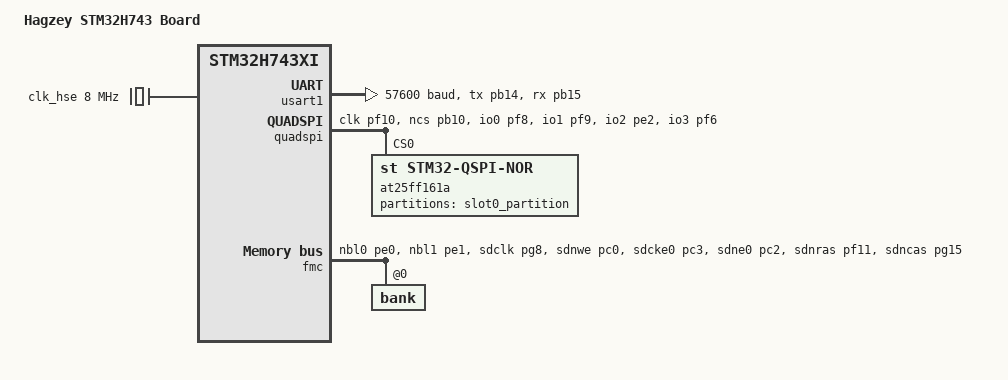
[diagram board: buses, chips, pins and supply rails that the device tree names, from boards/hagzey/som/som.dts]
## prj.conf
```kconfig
# Terminal configuration
CONFIG_SHELL=y

# GPIO configuration
CONFIG_GPIO=y
CONFIG_GPIO_SHELL=y

# Flash configuration
CONFIG_FLASH=y
CONFIG_FLASH_MAP=y
CONFIG_SPI_NOR=y
CONFIG_FLASH_SHELL=y

# C++ support
CONFIG_CPP=y
CONFIG_STD_CPP17=y
CONFIG_REQUIRES_FULL_LIBCPP=y
CONFIG_NEWLIB_LIBC=y
```

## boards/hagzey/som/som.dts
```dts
/dts-v1/;
#include <st/h7/stm32h743Xi.dtsi>
#include <st/h7/stm32h743zitx-pinctrl.dtsi>
#include <zephyr/dt-bindings/input/input-event-codes.h>
#include <zephyr/dt-bindings/mipi_dbi/mipi_dbi.h>

/ {
    model = "Hagzey STM32H743 Board";
    
    chosen {
        zephyr,sram = &sram0;
        zephyr,flash = &flash0;
        zephyr,console = &usart1;
        zephyr,shell-uart = &usart1;
    };
};

/* Custom pin definitions */
&pinctrl {
    quadspi_clk_pf10: quadspi_clk_pf10 {
        pinmux = <STM32_PINMUX('F', 10, AF9)>;
        slew-rate = "very-high-speed";
    };

    quadspi_bk1_ncs_pb10: quadspi_bk1_ncs_pb10 {
        pinmux = <STM32_PINMUX('B', 10, AF9)>;
        slew-rate = "very-high-speed";
    };

    quadspi_bk1_io0_pf8: quadspi_bk1_io0_pf8 {
        pinmux = <STM32_PINMUX('F', 8, AF10)>;
        slew-rate = "very-high-speed";
    };

    quadspi_bk1_io1_pf9: quadspi_bk1_io1_pf9 {
        pinmux = <STM32_PINMUX('F', 9, AF10)>;
        slew-rate = "very-high-speed";
    };

    quadspi_bk1_io2_pe2: quadspi_bk1_io2_pe2 {
        pinmux = <STM32_PINMUX('E', 2, AF9)>;
        slew-rate = "very-high-speed";
    };

    quadspi_bk1_io3_pf6: quadspi_bk1_io3_pf6 {
        pinmux = <STM32_PINMUX('F', 6, AF9)>;
        slew-rate = "very-high-speed";
    };

    fmc_sdclk_pg8: fmc_sdclk_pg8 {
        pinmux = <STM32_PINMUX('G', 8, AF12)>;
        slew-rate = "very-high-speed";
    };

    fmc_sdcke0_pc3: fmc_sdcke0_pc3 {
        pinmux = <STM32_PINMUX('C', 3, AF12)>;
        slew-rate = "very-high-speed";
    };

    fmc_sdne0_pc2: fmc_sdne0_pc2 {
        pinmux = <STM32_PINMUX('C', 2, AF12)>;
        slew-rate = "very-high-speed";
    };

    fmc_sdnras_pf11: fmc_sdnras_pf11 {
        pinmux = <STM32_PINMUX('F', 11, AF12)>;
        slew-rate = "very-high-speed";
    };

    fmc_sdncas_pg15: fmc_sdncas_pg15 {
        pinmux = <STM32_PINMUX('G', 15, AF12)>;
        slew-rate = "very-high-speed";
    };

    fmc_a0_pf0: fmc_a0_pf0 {
        pinmux = <STM32_PINMUX('F', 0, AF12)>;
        slew-rate = "very-high-speed";
    };

    fmc_a1_pf1: fmc_a1_pf1 {
        pinmux = <STM32_PINMUX('F', 1, AF12)>;
        slew-rate = "very-high-speed";
    };

    fmc_a2_pf2: fmc_a2_pf2 {
        pinmux = <STM32_PINMUX('F', 2, AF12)>;
        slew-rate = "very-high-speed";
    };

    fmc_a3_pf3: fmc_a3_pf3 {
        pinmux = <STM32_PINMUX('F', 3, AF12)>;
        slew-rate = "very-high-speed";
    };

    fmc_a4_pf4: fmc_a4_pf4 {
        pinmux = <STM32_PINMUX('F', 4, AF12)>;
        slew-rate = "very-high-speed";
    };

    fmc_a5_pf5: fmc_a5_pf5 {
        pinmux = <STM32_PINMUX('F', 5, AF12)>;
        slew-rate = "very-high-speed";
    };

    fmc_a6_pf12: fmc_a6_pf12 {
        pinmux = <STM32_PINMUX('F', 12, AF12)>;
        slew-rate = "very-high-speed";
    };

    fmc_a7_pf13: fmc_a7_pf13 {
        pinmux = <STM32_PINMUX('F', 13, AF12)>;
        slew-rate = "very-high-speed";
    };

    fmc_a8_pf14: fmc_a8_pf14 {
        pinmux = <STM32_PINMUX('F', 14, AF12)>;
        slew-rate = "very-high-speed";
    };

    fmc_a9_pf15: fmc_a9_pf15 {
        pinmux = <STM32_PINMUX('F', 15, AF12)>;
        slew-rate = "very-high-speed";
    };

    fmc_a10_pg0: fmc_a10_pg0 {
        pinmux = <STM32_PINMUX('G', 0, AF12)>;
        slew-rate = "very-high-speed";
    };

    fmc_a11_pg1: fmc_a11_pg1 {
        pinmux = <STM32_PINMUX('G', 1, AF12)>;
        slew-rate = "very-high-speed";
    };

    fmc_a14_pg4: fmc_a14_pg4 {
        pinmux = <STM32_PINMUX('G', 4, AF12)>;
        slew-rate = "very-high-speed";
    };

    fmc_a15_pg5: fmc_a15_pg5 {
        pinmux = <STM32_PINMUX('G', 5, AF12)>;
        slew-rate = "very-high-speed";
    };
};

/* Clocks */
&clk_hse {
    hse-bypass;
    clock-frequency = <DT_FREQ_M(8)>; /* 8MHz clock */
    status = "okay";
};

&pll {
    div-m = <2>;
    mul-n = <240>;
    div-p = <2>;
    div-q = <2>;
    div-r = <2>;
    clocks = <&clk_hse>;
    status = "okay";
};

&rcc {
    clocks = <&pll>;
    clock-frequency = <DT_FREQ_M(480)>;
    d1cpre = <1>;
    hpre = <2>;
    d1ppre = <2>;
    d2ppre1 = <2>;
    d2ppre2 = <2>;
    d3ppre = <2>;
};

/* Power */
&pwr {
    power-supply = "ldo";
};

/* UART1 : Console and programming */
&usart1 {
    pinctrl-0 = <&usart1_tx_pb14 &usart1_rx_pb15>;
    pinctrl-names = "default";
    current-speed = <57600>;
    status = "okay";
};

/* QSPI NOR Flash */
&quadspi {
    pinctrl-names = "default";
    pinctrl-0 = <&quadspi_clk_pf10 &quadspi_bk1_ncs_pb10
                 &quadspi_bk1_io0_pf8 &quadspi_bk1_io1_pf9
                 &quadspi_bk1_io2_pe2 &quadspi_bk1_io3_pf6>;
    flash-id = <1>;
    status = "okay";

    at25ff161a: qspi-nor-flash@0 {
        compatible = "st,stm32-qspi-nor";
        reg = <0>;
        size = <DT_SIZE_M(2)>; /* 2 MByte */
        qspi-max-frequency = <40000000>;
        cs-high-time = <2>; /* >= 50ns */
        spi-bus-width = <4>;
        writeoc = "PP_1_1_4";
        status = "okay";

        partitions {
            compatible = "fixed-partitions";
            #address-cells = <1>;
            #size-cells = <1>;

            slot0_partition: partition@0 {
                reg = <0x00000000 DT_SIZE_M(2)>;
            };
        };
    };
};

/* SDRAM */
&fmc {
    pinctrl-0 = <&fmc_nbl0_pe0 &fmc_nbl1_pe1
                 &fmc_sdclk_pg8 &fmc_sdnwe_pc0 &fmc_sdcke0_pc3
                 &fmc_sdne0_pc2 &fmc_sdnras_pf11 &fmc_sdncas_pg15
                 &fmc_a0_pf0 &fmc_a1_pf1 &fmc_a2_pf2 &fmc_a3_pf3 &fmc_a4_pf4
                 &fmc_a5_pf5 &fmc_a6_pf12 &fmc_a7_pf13 &fmc_a8_pf14
                 &fmc_a9_pf15 &fmc_a10_pg0 &fmc_a11_pg1
                 &fmc_a14_pg4 &fmc_a15_pg5
                 &fmc_d0_pd14 &fmc_d1_pd15 &fmc_d2_pd0 &fmc_d3_pd1
                 &fmc_d4_pe7 &fmc_d5_pe8 &fmc_d6_pe9 &fmc_d7_pe10
                 &fmc_d8_pe11 &fmc_d9_pe12 &fmc_d10_pe13 &fmc_d11_pe14
                 &fmc_d12_pe15 &fmc_d13_pd8 &fmc_d14_pd9 &fmc_d15_pd10>;
    pinctrl-names = "default";
    status = "okay";

    as4c8m16sa: sdram {
        status = "okay";
        power-up-delay = <100>;
        num-auto-refresh = <8>;
        mode-register = <0x230>;
        refresh-rate = <0x606>;

        bank@0 {
            reg = <0>;
            st,sdram-control = <STM32_FMC_SDRAM_NC_9
                                STM32_FMC_SDRAM_NR_12
                                STM32_FMC_SDRAM_MWID_16
                                STM32_FMC_SDRAM_NB_4
                                STM32_FMC_SDRAM_CAS_3
                                STM32_FMC_SDRAM_SDCLK_PERIOD_2
                                STM32_FMC_SDRAM_RBURST_ENABLE
                                STM32_FMC_SDRAM_RPIPE_1>;
            st,sdram-timing = <2 7 5 7 3 3 3>;
        };
    };
};
```

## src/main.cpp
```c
////////////////////////////////////////////////////////////////////////////////////////////////////
// Include(s)
////////////////////////////////////////////////////////////////////////////////////////////////////
#include <zephyr/kernel.h>

////////////////////////////////////////////////////////////////////////////////////////////////////
int main()
{
    while (true)
    {
        k_sleep(K_MSEC(100));
    }

    return 0;
}
```
